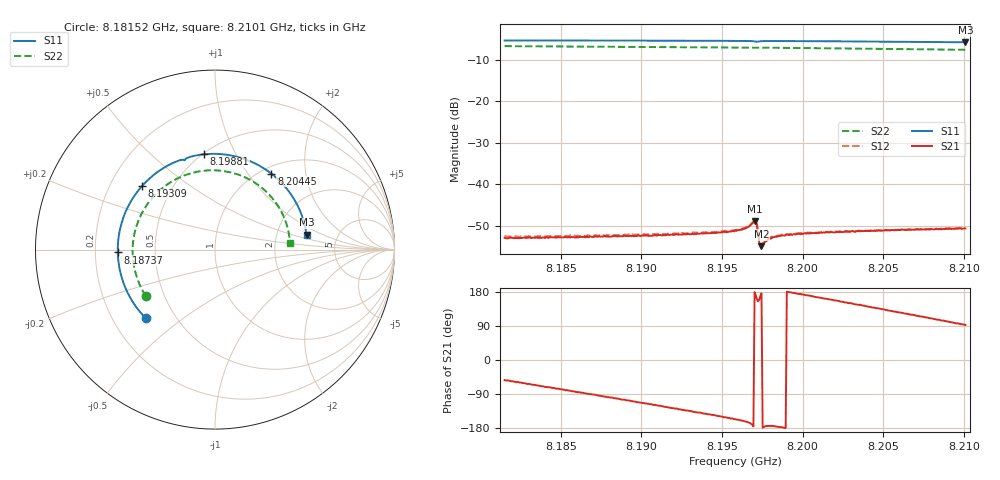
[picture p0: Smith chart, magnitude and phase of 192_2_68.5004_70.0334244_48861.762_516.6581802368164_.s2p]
#  HZ  S  RI  R  50.00
! Rohde & Schwarz Vector Network Analyzer
! Rohde-Schwarz,ZNB20-2Port,1311601062101988,3.16
! Created: UTC 3/20/2024, 4:57:09 PM
! freq[Hz]  re:S11  im:S11  re:S21  im:S21  re:S12  im:S12  re:S22  im:S22
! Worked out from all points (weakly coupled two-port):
!   401 points, 8.18152 GHz to 8.2101 GHz, reference 50 ohm
!   highest |S21| = -48.88 dB at 8.19702 GHz (marker M1); lowest = -54.9 dB at 8.19745 GHz (marker M2)
!   lowest |S11| = -5.7 dB at 8.2101 GHz (marker M3), VSWR 3.14, Z = 148 + j33.7 ohm
!   |S11| at or under -10 dB: nowhere
!   |S22| runs from -7.5 to -6.7 dB; largest |S21 - S12| = 0.00019
!   S11 on the Smith chart (normalised r, x): 8.18152 GHz: 0.34, -0.37; 8.18737 GHz: 0.30, -0.01; 8.19309 GHz: 0.34, +0.33; 8.19881 GHz: 0.51, +0.76; 8.20445 GHz: 1.11, +1.30; 8.2101 GHz: 2.97, +0.67
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8.181516e9  -0.3861 -0.3826  0.00136 -0.00181  0.00141 -0.00188  -0.3855 -0.2587
8.184017e9  -0.4862 -0.2416  0.000724 -0.00213  0.00076 -0.00222  -0.4424 -0.1321
8.186303e9  -0.5348 -0.0904  0.000148 -0.00232  0.000111 -0.00239  -0.4595 -0.00663
8.187375e9  -0.5416 -0.0159  -0.000182 -0.00237  -0.00024 -0.00241  -0.4552 0.0526
8.189233e9  -0.5293 0.1131  -0.000683 -0.00227  -0.000793 -0.00236  -0.4301 0.1523
8.19109e9  -0.4862 0.2356  -0.00124 -0.00211  -0.00134 -0.00211  -0.383 0.2438
8.193091e9  -0.4084 0.3522  -0.00179 -0.00177  -0.00192 -0.00178  -0.3105 0.3281
8.195806e9  -0.2588 0.4705  -0.00253 -0.00112  -0.00261 -0.00105  -0.1828 0.4086
8.196521e9  -0.2121 0.4922  -0.00287 -0.000883  -0.00296 -0.000785  -0.145 0.4222
8.196949e9  -0.1804 0.5007  -0.00348 -0.000282  -0.00358 -0.000154  -0.1218 0.4286
8.197021e9  -0.1748 0.5002  -0.0036 4.89e-05  -0.00368 0.000207  -0.1178 0.4295
8.197092e9  -0.1705 0.4988  -0.00353 0.000578  -0.00358 0.000751  -0.114 0.4305
8.197378e9  -0.1621 0.5064  -0.00182 0.000354  -0.00181 0.000407  -0.0984 0.4339
8.197449e9  -0.1574 0.5093  -0.00179 0.000126  -0.00185 0.00017  -0.0945 0.4347
8.198021e9  -0.1162 0.5222  -0.00221 -0.000238  -0.00229 -0.000143  -0.0625 0.4394
8.198807e9  -0.0604 0.5311  -0.00242 -8.68e-05  -0.00247 5.75e-05  -0.0181 0.4422
8.200593e9  0.0659 0.5283  -0.00254 0.000511  -0.00254 0.000639  0.0827 0.4316
8.202451e9  0.1923 0.494  -0.00238 0.00117  -0.00236 0.00127  0.1822 0.3955
8.204452e9  0.3144 0.4231  -0.00205 0.00183  -0.00203 0.00192  0.2775 0.3303
8.205381e9  0.364 0.3794  -0.0018 0.00212  -0.00174 0.00219  0.3152 0.2915
8.20781e9  0.4633 0.2391  -0.00102 0.00269  -0.000953 0.0027  0.3889 0.1692
8.210096e9  0.5099 0.0833  -0.000127 0.00294  -4.83e-05 0.003  0.418 0.0356
